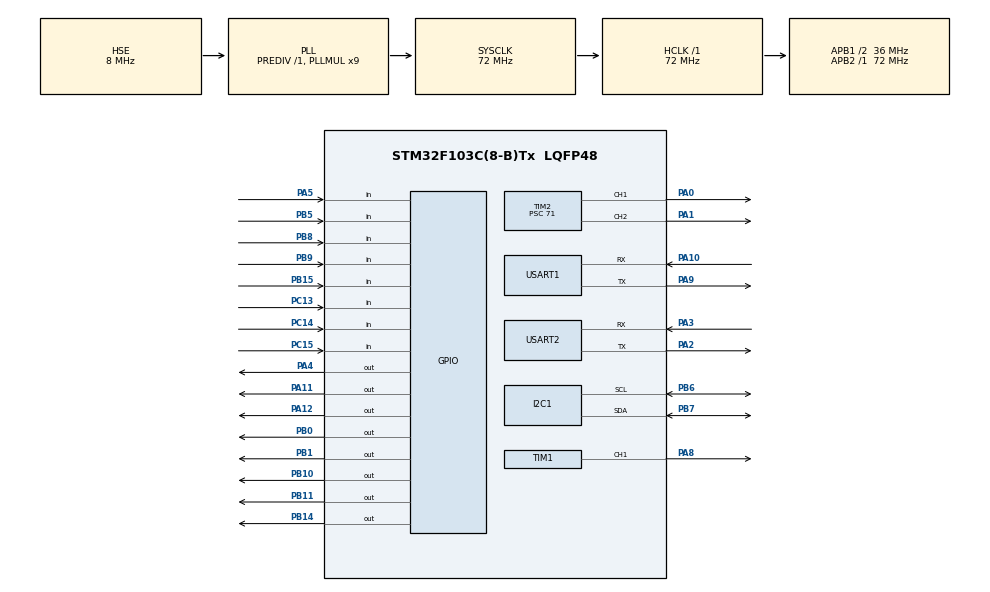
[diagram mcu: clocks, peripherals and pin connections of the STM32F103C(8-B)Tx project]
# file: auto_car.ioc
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Mcu.Family=STM32F1
Mcu.Name=STM32F103C(8-B)Tx
Mcu.Package=LQFP48
NVIC.PriorityGroup=NVIC_PRIORITYGROUP_4
PA0-WKUP.Signal=S_TIM2_CH1_ETR
PA1.Signal=S_TIM2_CH2
PA10.Mode=Asynchronous
PA10.Signal=USART1_RX
PA11.Signal=GPIO_Output
PA13.Mode=Serial_Wire
PA13.Signal=SYS_JTMS-SWDIO
PA14.Mode=Serial_Wire
PA14.Signal=SYS_JTCK-SWCLK
PA2.Mode=Asynchronous
PA2.Signal=USART2_TX
PA3.Mode=Asynchronous
PA3.Signal=USART2_RX
PA4.Signal=GPIO_Output
PA5.Signal=GPIO_Input
PA8.Signal=S_TIM1_CH1
PA9.Mode=Asynchronous
PA9.Signal=USART1_TX
PA12.Signal=GPIO_Output
PB0.Signal=GPIO_Output
PB1.Signal=GPIO_Output
PB10.Signal=GPIO_Output
PB11.Signal=GPIO_Output
PB14.Signal=GPIO_Output
PB15.Signal=GPIO_Input
PB5.Signal=GPIO_Input
PB6.Mode=I2C
PB6.Signal=I2C1_SCL
PB7.Mode=I2C
PB7.Signal=I2C1_SDA
PB8.Signal=GPIO_Input
PB9.Signal=GPIO_Input
PC13.Signal=GPIO_Input
PC14.Signal=GPIO_Input
PC15.Signal=GPIO_Input
PD0-OSC_IN.Mode=HSE-External-Oscillator
PD0-OSC_IN.Signal=RCC_OSC_IN
PD1-OSC_OUT.Mode=HSE-External-Oscillator
PD1-OSC_OUT.Signal=RCC_OSC_OUT
ProjectManager.HeapSize=0x200
ProjectManager.StackSize=0x400
ProjectManager.TargetToolchain=CMake
RCC.AHBFreq_Value=72000000
RCC.APB1CLKDivider=RCC_HCLK_DIV2
RCC.APB1Freq_Value=36000000
RCC.APB1TimFreq_Value=72000000
RCC.APB2Freq_Value=72000000
RCC.APB2TimFreq_Value=72000000
RCC.HCLKFreq_Value=72000000
RCC.PLLMUL=RCC_PLL_MUL9
RCC.PLLSourceVirtual=RCC_PLLSOURCE_HSE
RCC.SYSCLKFreq_VALUE=72000000
RCC.SYSCLKSource=RCC_SYSCLKSOURCE_PLLCLK
RCC.USBFreq_Value=72000000
SH.S_TIM1_CH1.0=TIM1_CH1,PWM Generation1 CH1
SH.S_TIM2_CH1_ETR.0=TIM2_CH1,PWM Generation1 CH1
SH.S_TIM2_CH2.0=TIM2_CH2,PWM Generation2 CH2
TIM1.Channel-PWM\ Generation1\ CH1=TIM_CHANNEL_1
TIM1.Period=19999
TIM1.Prescaler=71
TIM2.Channel-PWM\ Generation1\ CH1=TIM_CHANNEL_1
TIM2.Channel-PWM\ Generation2\ CH2=TIM_CHANNEL_2
TIM2.Period=999
TIM2.Prescaler=71
USART1.VirtualMode=VM_ASYNC
USART2.VirtualMode=VM_ASYNC
VP_TIM1_VS_ClockSourceINT.Mode=Internal
VP_TIM2_VS_ClockSourceINT.Mode=Internal
board=custom

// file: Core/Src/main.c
/* USER CODE BEGIN Header */
/**
  ******************************************************************************
  * @file           : main.c
  * @brief          : Main program body
  ******************************************************************************
  * @attention
  *
  * Copyright (c) 2026 STMicroelectronics.
  * All rights reserved.
  *
  * This software is licensed under terms that can be found in the LICENSE file
  * in the root directory of this software component.
  * If no LICENSE file comes with this software, it is provided AS-IS.
  *
  ******************************************************************************
  */
/* USER CODE END Header */
#include "main.h"
#include "i2c.h"
#include "tim.h"
#include "usart.h"
#include "gpio.h"

/* USER CODE BEGIN Includes */
#include "app_config.h"
#include "app_health.h"
#include "app_mode_task.h"
#include "auto_run.h"
#include "bluetooth.h"
#include "buzzer.h"
#include "car_mode.h"
#include "car.h"
#include "encoder.h"
#include "follow_task.h"
#include "hx711.h"
#include "motion_control.h"
#include "oled_ui.h"
#include "servo.h"
#include "status_led.h"
#include "tracking.h"
#include "transport_task.h"
#include "ultrasonic.h"
#include "uwb_follow.h"
#include <stdio.h>

/* USER CODE END Includes */

/* USER CODE BEGIN PD */
#define ULTRASONIC_PERIOD_MS         100U
#define HX711_WEIGHT_PERIOD_MS       500U
#define HX711_TARE_SAMPLE_PERIOD_MS  100U
#if APP_DEBUG_ENABLE
#define DEBUG_PRINT_PERIOD_MS        1000U
#endif
#define APP_RUN_TASK(task_id, call_expr)                 \
  do                                                     \
  {                                                      \
    uint32_t task_start_tick = HAL_GetTick();            \
    AppHealth_TaskBegin((task_id), task_start_tick);     \
    call_expr;                                           \
    AppHealth_TaskEnd((task_id), HAL_GetTick());         \
  } while (0)

/* USER CODE END PD */

/* USER CODE BEGIN PV */
volatile CarMode_t g_car_mode = MODE_TRANSPORT;
int16_t g_car_speed = 0;
uint16_t g_distance_cm = ULTRASONIC_TIMEOUT_CM;
int32_t g_weight_g = 0;
static uint32_t s_ultrasonic_last_tick = 0;
static uint32_t s_weight_last_tick = 0;
static uint8_t s_weight_tared = 0;
static int64_t s_weight_tare_sum = 0;
static uint8_t s_weight_tare_count = 0;
#if APP_DEBUG_ENABLE
static uint32_t s_debug_last_tick = 0;
#endif

/* USER CODE END PV */

void SystemClock_Config(void);

/* USER CODE BEGIN 0 */
static void App_UpdateUltrasonic(uint32_t now)
{
  uint16_t distance = 0;

  Ultrasonic_Task();

  if (Ultrasonic_TakeDistanceCm(&distance) != 0U)
  {
    g_distance_cm = distance;
  }

  if (((uint32_t)(now - s_ultrasonic_last_tick) >= ULTRASONIC_PERIOD_MS) &&
      (Ultrasonic_IsBusy() == 0U))
  {
    s_ultrasonic_last_tick = now;
    Ultrasonic_Start();
  }
}

static void App_UpdateWeight(uint32_t now)
{
  uint32_t period_ms = (s_weight_tared != 0U) ? HX711_WEIGHT_PERIOD_MS : HX711_TARE_SAMPLE_PERIOD_MS;
  int32_t raw = 0;

  if ((uint32_t)(now - s_weight_last_tick) >= period_ms)
  {
    s_weight_last_tick = now;

    if (HX711_ReadRawIfReady(&raw) != HX711_OK)
    {
      return;
    }

    if (s_weight_tared == 0U)
    {
      s_weight_tare_sum += raw;
      s_weight_tare_count++;

      if (s_weight_tare_count < HX711_DEFAULT_TARE_TIMES)
      {
        g_weight_g = 0;
        return;
      }

      HX711_SetOffset((int32_t)(s_weight_tare_sum / s_weight_tare_count));
      s_weight_tared = 1U;
      g_weight_g = 0;
      return;
    }

    g_weight_g = (int32_t)HX711_RawToWeight(raw);
  }
}

static void App_InitWeight(void)
{
  HX711_Init();
  HX711_SetScale(HX711_DEFAULT_SCALE);
  s_weight_tared = 0U;
  s_weight_tare_sum = 0;
  s_weight_tare_count = 0;
  g_weight_g = 0;
  s_weight_last_tick = HAL_GetTick();
}

static void App_RunMotionTask(void)
{
  switch (g_car_mode)
  {
    case MODE_MANUAL:
      break;

    case MODE_AUTO:
      Auto_Task();
      break;

    case MODE_TRACK:
      Tracking_Task();
      break;

    case MODE_FOLLOW:
      break;

    case MODE_TRANSPORT:
      Transport_Task();
      break;

    case MODE_EMERGENCY_STOP:
    default:
      Transport_EmergencyStop();
      g_car_speed = 0;
      Motion_Submit(MOTION_OWNER_EMERGENCY, MOTION_CMD_STOP, 0, 0U);
      break;
  }
}

static uint8_t App_StatusLedCanFollowMode(StatusLedState_t state)
{
  return ((state == STATUS_LED_IDLE) ||
          (state == STATUS_LED_MANUAL) ||
          (state == STATUS_LED_AUTO) ||
          (state == STATUS_LED_TRACK) ||
          (state == STATUS_LED_TRANSPORT)) ? 1U : 0U;
}

static void App_SyncStatusLedByMode(void)
{
  StatusLedState_t current = StatusLed_GetState();
  StatusLedState_t mode_state = STATUS_LED_MANUAL;

  if (g_car_mode == MODE_EMERGENCY_STOP)
  {
    StatusLed_SetState(STATUS_LED_EMERGENCY);
    return;
  }

  if (AppMode_GetMode() == APP_MODE_FOLLOW_LIGHT)
  {
    StatusLed_SetState(STATUS_LED_FOLLOW);
    return;
  }

  if (App_StatusLedCanFollowMode(current) == 0U)
  {
    return;
  }

  switch (g_car_mode)
  {
    case MODE_AUTO:
      mode_state = STATUS_LED_AUTO;
      break;

    case MODE_TRACK:
      mode_state = STATUS_LED_TRACK;
      break;

    case MODE_FOLLOW:
      mode_state = STATUS_LED_FOLLOW;
      break;

    case MODE_TRANSPORT:
      mode_state = STATUS_LED_TRANSPORT;
      break;

    case MODE_MANUAL:
    default:
      mode_state = STATUS_LED_MANUAL;
      break;
  }

  StatusLed_SetState(mode_state);
}

static void App_RunLedTask(void)
{
  App_SyncStatusLedByMode();
  StatusLed_Task();
}

static void App_DebugPrint(uint32_t now)
{
#if APP_DEBUG_ENABLE
  if ((uint32_t)(now - s_debug_last_tick) >= DEBUG_PRINT_PERIOD_MS)
  {
    s_debug_last_tick = now;
    printf("mode=%d, L=%ld pulse, LS=%ld pulse/s, R=%ld pulse, RS=%ld pulse/s, DIS=%u, WT=%ld\r\n",
           (int)g_car_mode,
           (long)Encoder_GetLeftPulse(),
           (long)Encoder_GetLeftSpeed(),
           (long)Encoder_GetRightPulse(),
           (long)Encoder_GetRightSpeed(),
           g_distance_cm,
           (long)g_weight_g);
  }
#else
  (void)now;
#endif
}

/* USER CODE END 0 */

int main(void)
{

  /* MCU Configuration--------------------------------------------------------*/

  /* Reset of all peripherals, Initializes the Flash interface and the Systick. */
  HAL_Init();

  /* Configure the system clock */
  SystemClock_Config();

  /* Initialize all configured peripherals */
  MX_GPIO_Init();
  MX_I2C1_Init();
  MX_TIM1_Init();
  MX_TIM2_Init();
  MX_USART1_UART_Init();
  MX_USART2_UART_Init();
  /* USER CODE BEGIN 2 */
  Buzzer_Init();
  Car_Init();
  Encoder_Init();
  Ultrasonic_Init();
  Servo_Init();
  App_InitWeight();
  AppHealth_Init();
  StatusLed_Init();
  Tracking_Init();
  Auto_Init();
  UwbFollow_Init();
  Follow_Init();
  OLED_UI_Init();
  Transport_Init();
  Bluetooth_Init();
  AppMode_Init();

#if APP_DEBUG_ENABLE
  printf("\r\nAuto car scheduler start\r\n");
#endif

  /* USER CODE END 2 */

  /* Infinite loop */
  while (1)
  {

    /* USER CODE BEGIN 3 */
    uint32_t now = HAL_GetTick();

    AppHealth_LoopBegin(now);

    APP_RUN_TASK(APP_HEALTH_TASK_APP_MODE, AppMode_Task());
    APP_RUN_TASK(APP_HEALTH_TASK_BLUETOOTH, Bluetooth_Task());
    APP_RUN_TASK(APP_HEALTH_TASK_LED, App_RunLedTask());
    APP_RUN_TASK(APP_HEALTH_TASK_BUZZER, Buzzer_Task());
    APP_RUN_TASK(APP_HEALTH_TASK_ULTRASONIC, App_UpdateUltrasonic(now));
    APP_RUN_TASK(APP_HEALTH_TASK_ENCODER, Encoder_Update());
    APP_RUN_TASK(APP_HEALTH_TASK_WEIGHT, App_UpdateWeight(now));
    APP_RUN_TASK(APP_HEALTH_TASK_UWB, UwbFollow_Task());
    APP_RUN_TASK(APP_HEALTH_TASK_FOLLOW, Follow_Task());
    APP_RUN_TASK(APP_HEALTH_TASK_MODE_CONTROL, App_RunMotionTask());
    APP_RUN_TASK(APP_HEALTH_TASK_SERVO, Servo_Task());
    APP_RUN_TASK(APP_HEALTH_TASK_MOTION, Motion_Task());
    APP_RUN_TASK(APP_HEALTH_TASK_OLED, OLED_UI_Update());
    APP_RUN_TASK(APP_HEALTH_TASK_DEBUG, App_DebugPrint(now));
  }
  /* USER CODE END 3 */
}

void SystemClock_Config(void)
{
  RCC_OscInitTypeDef RCC_OscInitStruct = {0};
  RCC_ClkInitTypeDef RCC_ClkInitStruct = {0};

  /** Initializes the RCC Oscillators according to the specified parameters
  * in the RCC_OscInitTypeDef structure.
  */
  RCC_OscInitStruct.OscillatorType = RCC_OSCILLATORTYPE_HSE;
  RCC_OscInitStruct.HSEState = RCC_HSE_ON;
  RCC_OscInitStruct.HSEPredivValue = RCC_HSE_PREDIV_DIV1;
  RCC_OscInitStruct.HSIState = RCC_HSI_ON;
  RCC_OscInitStruct.PLL.PLLState = RCC_PLL_ON;
  RCC_OscInitStruct.PLL.PLLSource = RCC_PLLSOURCE_HSE;
  RCC_OscInitStruct.PLL.PLLMUL = RCC_PLL_MUL9;
  if (HAL_RCC_OscConfig(&RCC_OscInitStruct) != HAL_OK)
  {
    Error_Handler();
  }

  /** Initializes the CPU, AHB and APB buses clocks
  */
  RCC_ClkInitStruct.ClockType = RCC_CLOCKTYPE_HCLK|RCC_CLOCKTYPE_SYSCLK
                              |RCC_CLOCKTYPE_PCLK1|RCC_CLOCKTYPE_PCLK2;
  RCC_ClkInitStruct.SYSCLKSource = RCC_SYSCLKSOURCE_PLLCLK;
  RCC_ClkInitStruct.AHBCLKDivider = RCC_SYSCLK_DIV1;
  RCC_ClkInitStruct.APB1CLKDivider = RCC_HCLK_DIV2;
  RCC_ClkInitStruct.APB2CLKDivider = RCC_HCLK_DIV1;

  if (HAL_RCC_ClockConfig(&RCC_ClkInitStruct, FLASH_LATENCY_2) != HAL_OK)
  {
    Error_Handler();
  }
}

/* USER CODE BEGIN 4 */
int __io_putchar(int ch)
{
  HAL_UART_Transmit(&huart1, (uint8_t *)&ch, 1, 10);
  return ch;
}

void HAL_UART_RxCpltCallback(UART_HandleTypeDef *huart)
{
  if (huart->Instance == USART1)
  {
    Bluetooth_OnRxCpltCallback(huart);
    return;
  }

  if (huart->Instance == USART2)
  {
    UwbFollow_OnRxCpltCallback(huart);
    return;
  }

}

void HAL_UART_ErrorCallback(UART_HandleTypeDef *huart)
{
  if (huart->Instance == USART1)
  {
    Bluetooth_OnErrorCallback(huart);
    return;
  }

  if (huart->Instance == USART2)
  {
    UwbFollow_OnErrorCallback(huart);
    return;
  }
}

/* USER CODE END 4 */

void Error_Handler(void)
{
  __disable_irq();
  while (1)
  {
  }
}
